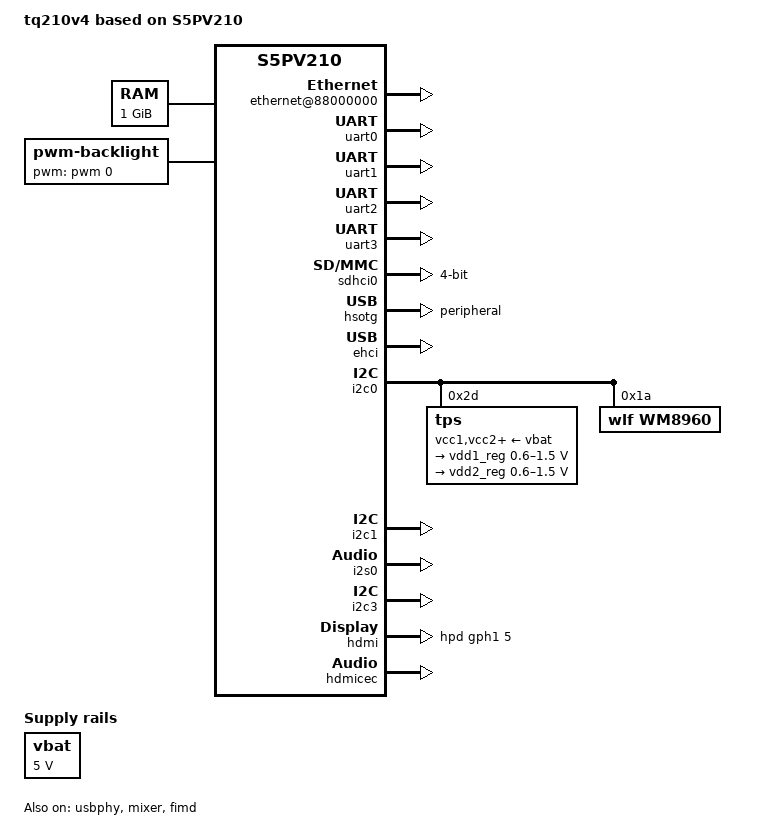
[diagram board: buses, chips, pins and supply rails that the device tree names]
// SPDX-License-Identifier: GPL-2.0

/dts-v1/;
#include <dt-bindings/interrupt-controller/irq.h>
#include <dt-bindings/gpio/gpio.h>
#include "210.dtsi"

/ {
	model = "tq210v4 based on S5PV210";
	compatible = "samsung,s5pv210";

	chosen {
		bootargs = "console=ttySAC3 noinitrd root=/dev/mmcblk0p1 rootfstype=squashfs rootwait init=/linuxrc ignore_loglevel earlyprintk";
	};

	memory@20000000 {
		device_type = "memory";
		reg = <0x20000000 0x40000000>;
	};

	reserved-memory {
		#address-cells = <1>;
		#size-cells = <1>;
		ranges;

		linux,cma {
			compatible = "shared-dma-pool";
			reusable;
			size = <0x4000000>;
			linux,cma-default;
		};
	};

	210_misc {
		compatible = "210,misc";
	};

	ethernet@88000000 {
		compatible = "davicom,dm9000";
		reg = <0x88000000 0x2 0x88000008 0x2>;
		interrupt-parent = <&gph1>;
		interrupts = <2 IRQ_TYPE_LEVEL_HIGH>;
		local-mac-address = [00 00 de ad be ef];
		davicom,no-eeprom;
		pinctrl-names = "default";
		pinctrl-0 = <&xm0_csn1 &xm0_oen &xm0_wen &xm0_addr2 &xm0_data>;
		assigned-clocks = <&clocks CLK_SROMC>;
		assigned-clock-rates = <0>;
	};

	sound {
		compatible = "samsung,smdk-wm8960";
		clocks = <&clocks FOUT_EPLL>;
		clock-names = "fout_epll";
		samsung,audio-codec = <&wm8960>, <&hdmi>;
		samsung,i2s-controller = <&i2s0>;
		samsung,model = "s5pv210-wm8960";
	};

	vbat: fixedregulator0 {
		compatible = "regulator-fixed";
		regulator-name = "vbat";
		regulator-min-microvolt = <5000000>;
		regulator-max-microvolt = <5000000>;
		regulator-boot-on;
		regulator-always-on;
	};

	backlight {
		compatible = "pwm-backlight";
		pwms = <&pwm 0 50000 0>;
		brightness-levels = <0 64 68 72 80 88 96 112 128 192 255>;
		default-brightness-level = <6>;
		pinctrl-names = "default";
		pinctrl-0 = <&pwm0_out>;
	};
};

&xxti {
	clock-frequency = <24000000>;
};

&xusbxti {
	clock-frequency = <24000000>;
};

&uart0 {
	pinctrl-0 = <&uart0_data>;
	pinctrl-names = "default";
	status = "okay";
};

&uart1 {
	pinctrl-0 = <&uart1_data>;
	pinctrl-names = "default";
	status = "okay";
};

&uart2 {
	pinctrl-0 = <&uart2_data>;
	pinctrl-names = "default";
	status = "okay";
};

&uart3 {
	pinctrl-0 = <&uart3_data>;
	pinctrl-names = "default";
	status = "okay";
};

&sdhci0 {
	bus-width = <4>;
	pinctrl-0 = <&sd0_clk &sd0_cmd &sd0_cd &sd0_bus4>;
	pinctrl-names = "default";
	status = "okay";

	assigned-clocks = <&clocks MOUT_MMC0>, <&clocks MOUT_MMC1>, <&clocks MOUT_MMC2>, <&clocks MOUT_MMC3>;
	assigned-clock-parents = <&clocks MOUT_MPLL>, <&clocks MOUT_MPLL>, <&clocks MOUT_MPLL>, <&clocks MOUT_MPLL>;
};

&hsotg {
	dr_mode = "peripheral";
	//total_fifo_size=7808
	g-rx-fifo-size = <2048>;
	g-np-tx-fifo-size = <256>;
	g-tx-fifo-size = <256 256 256 256 256 256 256 256 
					  256 256 256 256 256 256 256>;
	status = "okay";
};

&usbphy {
	status = "okay";
};

&ehci {
	status = "okay";
};

&i2c0 {
	samsung,i2c-sda-delay = <100>;
	samsung,i2c-max-bus-freq = <100000>;
	samsung,i2c-slave-addr = <0x10>;
	status = "okay";

	tps: tps@2d {
		reg = <0x2d>;
	};

	wm8960: wm8960@1a {
		compatible = "wlf,wm8960";
		reg = <0x1a>;
		wlf,shared-lrclk;
		wlf,gpio-cfg = <1 0>;
		wlf,hp-cfg = <0 0 0>;
	};
};

&i2c1 {
	samsung,i2c-sda-delay = <100>;
	samsung,i2c-max-bus-freq = <100000>;
	samsung,i2c-slave-addr = <0x10>;
	status = "okay";
};

&clk_audss {
	assigned-clocks = <&clk_audss CLK_MOUT_AUDSS>;
	assigned-clock-parents = <&clocks FOUT_EPLL>;
};

&i2s0 {
	#clock-cells = <1>;
	status = "okay";
};

&i2c3 {
	samsung,i2c-sda-delay = <100>;
	samsung,i2c-max-bus-freq = <100000>;
	samsung,i2c-slave-addr = <0x10>;
	status = "okay";
};

&hdmi {
	hpd-gpios = <&gph1 5 GPIO_ACTIVE_HIGH>;
	pinctrl-names = "default";
	pinctrl-0 = <&hdmi_hpd>;
	vdd-supply = <&vdig2_reg>;
	vdd_osc-supply = <&vaux2_reg>;
	vdd_pll-supply = <&vdig2_reg>;
	ddc = <&i2c1>;
	status = "okay";

	assigned-clocks = <&clocks CLK_HDMI>, <&clocks SCLK_HDMI>;
	assigned-clock-rates = <0>, <0>;
};

&hdmicec {
	pinctrl-names = "default";
	pinctrl-0 = <&hdmi_cec>;
	status = "okay";

	assigned-clocks = <&clocks CLK_HDMI>;
	assigned-clock-rates = <0>;
};

&mixer {
	status = "okay";

	assigned-clocks = <&clocks CLK_MIXER>, <&clocks CLK_HDMI>,
					<&clocks CLK_VP>, <&clocks SCLK_MIXER>;
	assigned-clock-rates = <0>, <0>,
					<0>, <0>;
};

&fimd {
	pinctrl-0 = <&lcd_clk &lcd_data24>;
	pinctrl-names = "default";
	status = "okay";
	
	/* The maximum frequency of VCLK is 100Mhz(pad:50pf). */
	assigned-clocks = <&clocks MOUT_FIMD>,
					<&clocks FOUT_VPLL>,
					<&clocks SCLK_FIMD>, <&clocks CLK_FIMD>;
	assigned-clock-parents = <&clocks MOUT_VPLL>;
	assigned-clock-rates = <0>, 
					<65000000>,
					<0>, <0>;

	display-timings {
		native-mode = <&timing0>;
		
		timing0: timing {
			clock-frequency = <32500000>;
			hactive = <800>;
			vactive = <480>;
			hfront-porch = <146>;
			hsync-len = <20>;
			hback-porch = <46>;
			vfront-porch = <22>;
			vsync-len = <10>;
			vback-porch = <23>;
			hsync-active = <1>;
			vsync-active = <1>;
		};
	};
};

&pwm {
	samsung,pwm-outputs = <0>;
};

&tps {
	vcc1-supply = <&vbat>;
	vcc2-supply = <&vbat>;
	vcc3-supply = <&vbat>;
	vcc4-supply = <&vbat>;
	vcc5-supply = <&vbat>;
	vcc6-supply = <&vbat>;
	vcc7-supply = <&vbat>;
	vccio-supply = <&vbat>;

	regulators {
		vrtc_reg: regulator@0 {
			//1.8
			regulator-always-on;
		};

		vio_reg: regulator@1 {
			//1.8
			regulator-boot-on;
			regulator-always-on;
		};

		vdd1_reg: regulator@2 {
			//1.2
			regulator-min-microvolt = <600000>;
			regulator-max-microvolt = <1500000>;
			regulator-boot-on;
			regulator-always-on;
		};

		vdd2_reg: regulator@3 {
			//1.1
			regulator-min-microvolt = <600000>;
			regulator-max-microvolt = <1500000>;
			regulator-boot-on;
			regulator-always-on;
		};

		vdig1_reg: regulator@5 {
			//1.8
			regulator-always-on;
		};

		vdig2_reg: regulator@6 {
			//1.1
			regulator-boot-on;
			regulator-always-on;
		};

		vpll_reg: regulator@7 {
			//1.1
			regulator-boot-on;
			regulator-always-on;
		};

		vdac_reg: regulator@8 {
			//2.6
			regulator-boot-on;
			regulator-always-on;
		};

		vaux1_reg: regulator@9 {
			//2.8
			regulator-boot-on;
			regulator-always-on;
		};

		vaux2_reg: regulator@10 {
			//3.3
			regulator-always-on;
		};

		vaux33_reg: regulator@11 {
			//3.3
			regulator-boot-on;
			regulator-always-on;
		};

		vmmc_reg: regulator@12 {
			//3.0
			regulator-boot-on;
			regulator-always-on;
		};
	};
};

#include "tps65910.dtsi"
